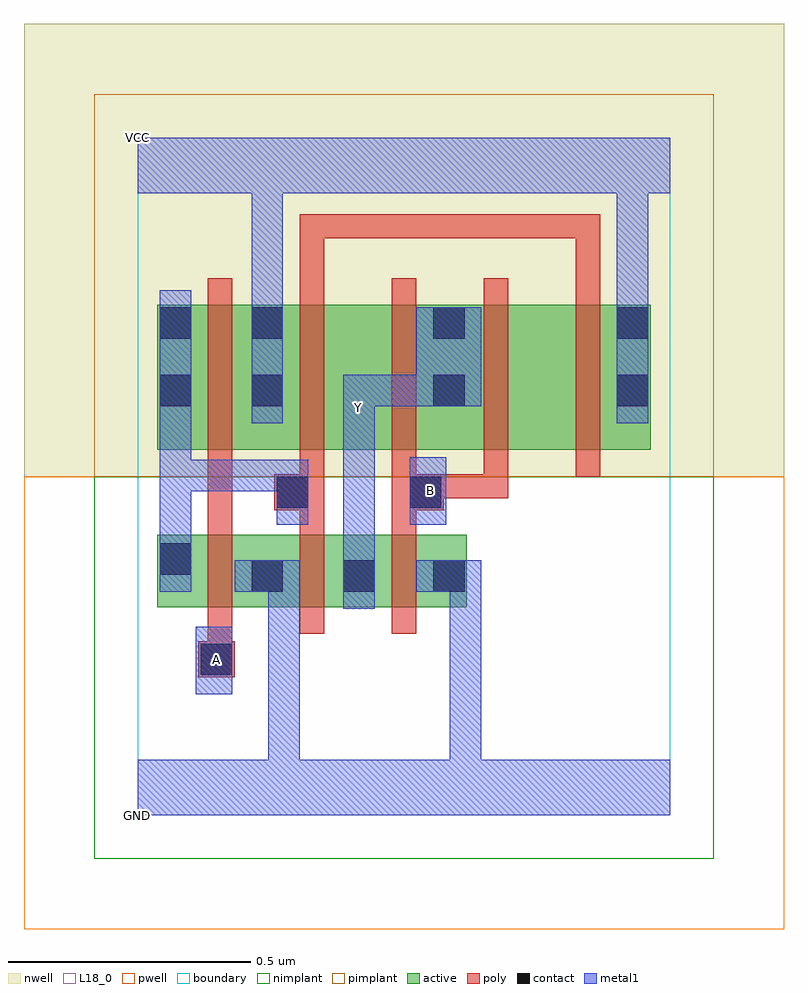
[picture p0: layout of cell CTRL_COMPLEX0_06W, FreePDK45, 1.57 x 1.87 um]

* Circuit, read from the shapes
.subckt CTRL_COMPLEX0_06W A B GND VCC Y
M1 GND A n1 VSUBS nfet w=0.15u l=0.05u
M2 Y n1 GND VSUBS nfet w=0.15u l=0.05u
M3 GND B Y VSUBS nfet w=0.15u l=0.05u
M4 VCC A n1 n2 pfet w=0.3u l=0.05u
M5 n3 n1 VCC n2 pfet w=0.3u l=0.05u
M6 Y B n3 n2 pfet w=0.3u l=0.05u
M7 n4 B Y n2 pfet w=0.3u l=0.05u
M8 VCC n1 n4 n2 pfet w=0.3u l=0.05u
.ends

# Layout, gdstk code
import gdstk
lib = gdstk.Library(unit=1e-6, precision=1e-09)
def R(c, l, rs):  # rectangles x0, y0, x1, y1
    for r in rs: c.add(gdstk.rectangle(r[:2], r[2:], *l))
def A(c, l, x, y, w, h, nx, ny, dx, dy):  # array of equal rectangles
    R(c, l, [(x+i*dx, y+j*dy, x+i*dx+w, y+j*dy+h) for i in range(nx) for j in range(ny)])
active = (1, 0)
pwell = (2, 0)
nwell = (3, 0)
nimplant = (4, 0)
pimplant = (5, 0)
poly = (9, 0)
contact = (10, 0)
metal1 = (11, 0)
L18_0 = (18, 0)
boundary = (235, 0)

ctrl_complex0_06w = lib.new_cell('CTRL_COMPLEX0_06W')
R(ctrl_complex0_06w, active, [(0.04,0.43,0.305,0.58), (0.23,0.43,0.495,0.58), (0.42,0.43,0.495,0.58), (0.42,0.43,0.68,0.58), (0.605,0.43,0.68,0.58), (0.23,0.457,0.305,0.58), (0.04,0.492,0.115,0.58), (0.04,0.755,0.115,1.055), (0.04,0.755,0.305,1.055), (0.23,0.755,0.305,1.055), (0.23,0.755,0.455,1.055), (0.455,0.755,0.68,1.055), (0.605,0.755,0.68,1.055), (0.605,0.755,0.835,1.055), (0.835,0.755,1.06,1.055), (0.985,0.755,1.06,1.055)])
R(ctrl_complex0_06w, pwell, [(-0.235,-0.235,1.335,0.7)])
R(ctrl_complex0_06w, nwell, [(-0.235,0.7,1.335,1.635)])
R(ctrl_complex0_06w, nimplant, [(-0.09,-0.09,1.19,0.7)])
R(ctrl_complex0_06w, pimplant, [(-0.09,0.7,1.19,1.49)])
A(ctrl_complex0_06w, poly, 0.145, 0.375, 0.05, 0.26, 3, 1, 0.19, 0)
A(ctrl_complex0_06w, poly, 0.145, 0.585, 0.05, 0.095, 3, 1, 0.19, 0)
A(ctrl_complex0_06w, poly, 0.335, 0.655, 0.05, 0.095, 3, 1, 0.19, 0)
A(ctrl_complex0_06w, poly, 0.145, 0.7, 0.05, 0.41, 5, 1, 0.19, 0)
R(ctrl_complex0_06w, poly, [(0.125,0.285,0.2,0.36), (0.145,0.31,0.195,0.425), (0.145,0.63,0.195,0.68), (0.145,0.63,0.195,0.75), (0.282,0.63,0.385,0.705), (0.525,0.63,0.632,0.705), (0.582,0.655,0.632,0.705), (0.582,0.655,0.632,0.705), (0.582,0.655,0.765,0.705), (0.715,0.655,0.765,0.705), (0.335,1.06,0.385,1.242), (0.905,1.06,0.955,1.242), (0.335,1.192,0.385,1.242), (0.335,1.192,0.385,1.242), (0.335,1.192,0.385,1.242), (0.335,1.192,0.632,1.242), (0.582,1.192,0.632,1.242), (0.582,1.192,0.765,1.242), (0.715,1.192,0.765,1.242), (0.715,1.192,0.765,1.242), (0.715,1.192,0.765,1.242), (0.715,1.192,0.955,1.242), (0.905,1.192,0.955,1.242), (0.905,1.192,0.955,1.242), (0.905,1.192,0.955,1.242)])
R(ctrl_complex0_06w, contact, [(0.13,0.29,0.195,0.355), (0.235,0.462,0.3,0.527), (0.425,0.462,0.49,0.527), (0.61,0.462,0.675,0.527), (0.045,0.497,0.11,0.562), (0.287,0.635,0.352,0.7), (0.562,0.635,0.627,0.7), (0.045,0.845,0.11,0.91), (0.235,0.845,0.3,0.91), (0.61,0.845,0.675,0.91), (0.99,0.845,1.055,0.91), (0.045,0.985,0.11,1.05), (0.235,0.985,0.3,1.05), (0.61,0.985,0.675,1.05), (0.99,0.985,1.055,1.05)])
R(ctrl_complex0_06w, metal1, [(0,0,1.1,0.115), (0.27,0.05,0.335,0.115), (0.27,0.05,0.335,0.115), (0.27,0.05,0.335,0.115), (0.27,0.05,0.335,0.115), (0.27,0.05,0.335,0.527), (0.645,0.05,0.71,0.115), (0.645,0.05,0.71,0.115), (0.645,0.05,0.71,0.115), (0.645,0.05,0.71,0.115), (0.645,0.05,0.71,0.115), (0.645,0.05,0.71,0.115), (0.645,0.05,0.71,0.527), (0.12,0.25,0.195,0.39), (0.425,0.427,0.49,0.562), (0.045,0.462,0.11,0.597), (0.2,0.462,0.335,0.527), (0.27,0.462,0.335,0.527), (0.27,0.462,0.335,0.527), (0.575,0.462,0.71,0.527), (0.425,0.497,0.49,0.84), (0.045,0.532,0.11,0.735), (0.287,0.6,0.352,0.735), (0.562,0.6,0.637,0.74), (0.045,0.67,0.11,0.735), (0.045,0.67,0.11,0.735), (0.045,0.67,0.11,0.735), (0.045,0.67,0.352,0.735), (0.045,0.67,0.11,0.875), (0.287,0.67,0.352,0.735), (0.287,0.67,0.352,0.735), (0.425,0.775,0.49,0.91), (0.045,0.81,0.11,1.085), (0.235,0.81,0.3,1.085), (0.99,0.81,1.055,1.085), (0.425,0.845,0.49,0.91), (0.425,0.845,0.49,0.91), (0.425,0.845,0.64,0.91), (0.575,0.845,0.64,0.91), (0.575,0.845,0.64,0.91), (0.575,0.845,0.71,1.05), (0.235,1.02,0.3,1.35), (0.99,1.02,1.055,1.35), (0,1.285,1.1,1.4), (0.235,1.285,0.3,1.35), (0.235,1.285,0.3,1.35), (0.99,1.285,1.055,1.35), (0.99,1.285,1.055,1.35)])
R(ctrl_complex0_06w, L18_0, [(0,0,1.1,0.115), (0.27,0.05,0.335,0.115), (0.27,0.05,0.335,0.115), (0.27,0.05,0.335,0.115), (0.27,0.05,0.335,0.115), (0.27,0.05,0.335,0.527), (0.645,0.05,0.71,0.115), (0.645,0.05,0.71,0.115), (0.645,0.05,0.71,0.115), (0.645,0.05,0.71,0.115), (0.645,0.05,0.71,0.115), (0.645,0.05,0.71,0.115), (0.645,0.05,0.71,0.527), (0.12,0.25,0.195,0.39), (0.13,0.29,0.195,0.355), (0.425,0.427,0.49,0.562), (0.2,0.462,0.335,0.527), (0.27,0.462,0.335,0.527), (0.27,0.462,0.335,0.527), (0.575,0.462,0.71,0.527), (0.425,0.497,0.49,0.84), (0.562,0.6,0.637,0.74), (0.572,0.64,0.637,0.705), (0.425,0.775,0.49,0.91), (0.235,0.81,0.3,1.085), (0.425,0.81,0.49,0.875), (0.99,0.81,1.055,1.085), (0.425,0.845,0.49,0.91), (0.425,0.845,0.49,0.91), (0.425,0.845,0.64,0.91), (0.575,0.845,0.64,0.91), (0.575,0.845,0.64,0.91), (0.575,0.845,0.71,1.05), (0.235,1.02,0.3,1.35), (0.99,1.02,1.055,1.35), (0,1.285,1.1,1.4), (0.235,1.285,0.3,1.35), (0.235,1.285,0.3,1.35), (0.99,1.285,1.055,1.35), (0.99,1.285,1.055,1.35)])
R(ctrl_complex0_06w, boundary, [(0,0,1.1,1.4)])
ctrl_complex0_06w.add(gdstk.Label('A', (0.162,0.322), layer=11, texttype=0))
ctrl_complex0_06w.add(gdstk.Label('B', (0.605,0.672), layer=11, texttype=0))
ctrl_complex0_06w.add(gdstk.Label('Y', (0.457,0.842), layer=11, texttype=0))
ctrl_complex0_06w.add(gdstk.Label('VCC', (0,1.4), layer=11, texttype=0))
ctrl_complex0_06w.add(gdstk.Label('GND', (0,0), layer=11, texttype=0))

lib.write_gds('CTRL_COMPLEX0_06W.gds')
